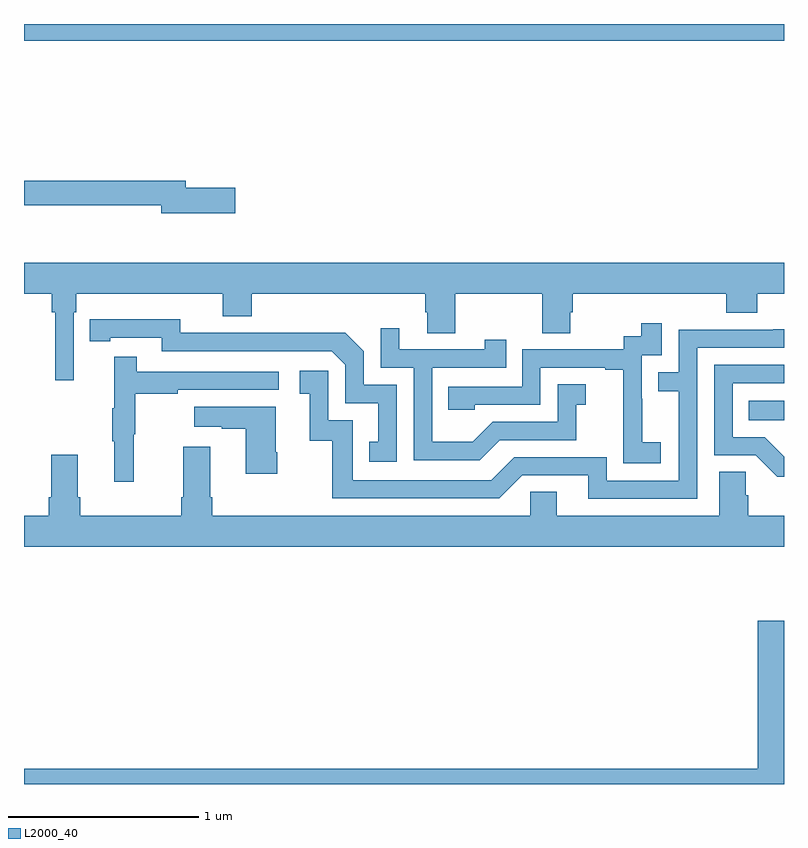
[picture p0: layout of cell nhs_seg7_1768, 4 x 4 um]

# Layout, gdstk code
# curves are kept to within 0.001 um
import gdstk
lib = gdstk.Library(unit=1e-6, precision=1e-09)
def R(c, l, rs):  # rectangles x0, y0, x1, y1
    for r in rs: c.add(gdstk.rectangle(r[:2], r[2:], *l))
def P(c, l, *ps):  # polygons
    for p in ps: c.add(gdstk.Polygon(p, *l))
L2000_40 = (2000, 40)

nhs_seg7_1768 = lib.new_cell('nhs_seg7_1768')
R(nhs_seg7_1768, L2000_40, [(234.814,1035.914,235,1036.018), (231,1037.912,235,1038)])
P(nhs_seg7_1768, L2000_40, [(232.111,1037.138),(231.85,1037.138),(231.85,1037.174),(231,1037.174),(231,1037.046),(231.722,1037.046),(231.722,1037.003),(232.111,1037.003)],
  [(231.261,1036.484),(231.275,1036.484),(231.275,1036.58),(232.046,1036.58),(232.046,1036.463),(232.199,1036.463),(232.199,1036.58),(233.111,1036.58),(233.111,1036.482),(233.123,1036.482),(233.123,1036.372),(233.271,1036.372),(233.271,1036.58),(233.728,1036.58),(233.728,1036.372),(233.875,1036.372),(233.875,1036.482),(233.888,1036.482),(233.888,1036.58),(234.695,1036.58),(234.695,1036.481),(234.86,1036.481),(234.86,1036.58),(235,1036.58),(235,1036.744),(231,1036.744),(231,1036.58),(231.145,1036.58),(231.145,1036.484),(231.164,1036.484),(231.164,1036.125),(231.261,1036.125)],
  [(232.962,1036.101),(232.788,1036.101),(232.788,1036.278),(232.69,1036.376),(232.282,1036.376),(232.282,1036.374),(231.822,1036.374),(231.822,1036.447),(231.346,1036.446),(231.346,1036.33),(231.454,1036.33),(231.454,1036.35),(231.726,1036.35),(231.726,1036.278),(232.62,1036.278),(232.692,1036.206),(232.692,1036.005),(232.865,1036.005),(232.865,1035.801),(232.816,1035.801),(232.816,1035.696),(232.962,1035.696)],
  [(234.352,1035.799),(234.254,1035.799),(234.254,1036.028),(234.252,1036.028),(234.252,1036.257),(234.357,1036.257),(234.357,1036.426),(234.249,1036.426),(234.249,1036.356),(234.156,1036.356),(234.156,1036.287),(233.622,1036.287),(233.622,1036.092),(233.233,1036.092),(233.233,1035.969),(233.373,1035.969),(233.373,1035.996),(233.718,1035.996),(233.718,1036.191),(234.059,1036.191),(234.059,1036.179),(234.155,1036.179),(234.155,1035.895),(234.154,1035.895),(234.154,1035.689),(234.352,1035.689)],
  [(233.503,1035.81),(233.907,1035.81),(233.907,1035.995),(233.956,1035.995),(233.956,1036.105),(233.808,1036.105),(233.808,1035.906),(233.466,1035.906),(233.362,1035.802),(233.148,1035.802),(233.148,1036.191),(233.537,1036.191),(233.537,1036.339),(233.426,1036.339),(233.426,1036.287),(232.975,1036.287),(232.975,1036.399),(232.878,1036.399),(232.878,1036.191),(233.052,1036.191),(233.052,1035.705),(233.398,1035.705)],
  [(234.543,1036.296),(235,1036.296),(235,1036.394),(234.943,1036.394),(234.943,1036.392),(234.447,1036.392),(234.447,1036.167),(234.337,1036.167),(234.337,1036.066),(234.447,1036.066),(234.447,1035.597),(234.066,1035.597),(234.066,1035.72),(233.58,1035.72),(233.46,1035.6),(232.731,1035.6),(232.731,1035.915),(232.602,1035.915),(232.602,1036.174),(232.452,1036.174),(232.452,1036.053),(232.505,1036.053),(232.505,1035.807),(232.623,1035.807),(232.623,1035.504),(233.502,1035.504),(233.622,1035.624),(233.969,1035.624),(233.969,1035.501),(234.543,1035.501)],
  [(231.578,1035.84),(231.586,1035.84),(231.586,1036.054),(231.809,1036.054),(231.809,1036.074),(232.342,1036.074),(232.342,1036.17),(231.593,1036.17),(231.593,1036.249),(231.476,1036.249),(231.476,1035.977),(231.465,1035.977),(231.465,1035.803),(231.476,1035.803),(231.476,1035.591),(231.578,1035.591)],
  [(235,1035.723),(234.898,1035.825),(234.729,1035.825),(234.729,1036.11),(235,1036.11),(235,1036.206),(234.633,1036.206),(234.633,1035.729),(234.852,1035.729),(234.965,1035.617),(235,1035.617)],
  [(232.332,1035.745),(232.324,1035.745),(232.324,1035.985),(231.897,1035.985),(231.897,1035.881),(232.04,1035.881),(232.04,1035.871),(232.166,1035.871),(232.166,1035.632),(232.332,1035.632)],
  [(235,1035.412),(234.812,1035.412),(234.812,1035.521),(234.798,1035.521),(234.798,1035.644),(234.659,1035.644),(234.659,1035.412),(233.803,1035.412),(233.803,1035.539),(233.664,1035.539),(233.664,1035.412),(231.992,1035.412),(231.992,1035.508),(231.979,1035.508),(231.979,1035.775),(231.839,1035.775),(231.839,1035.508),(231.827,1035.508),(231.827,1035.412),(231.296,1035.412),(231.296,1035.508),(231.283,1035.508),(231.283,1035.733),(231.143,1035.733),(231.143,1035.508),(231.131,1035.508),(231.131,1035.412),(231,1035.412),(231,1035.248),(235,1035.248)],
  [(235,1034.86),(234.863,1034.86),(234.863,1034.08),(231,1034.08),(231,1034),(235,1034)])

lib.write_gds('nhs_seg7_1768.gds')
